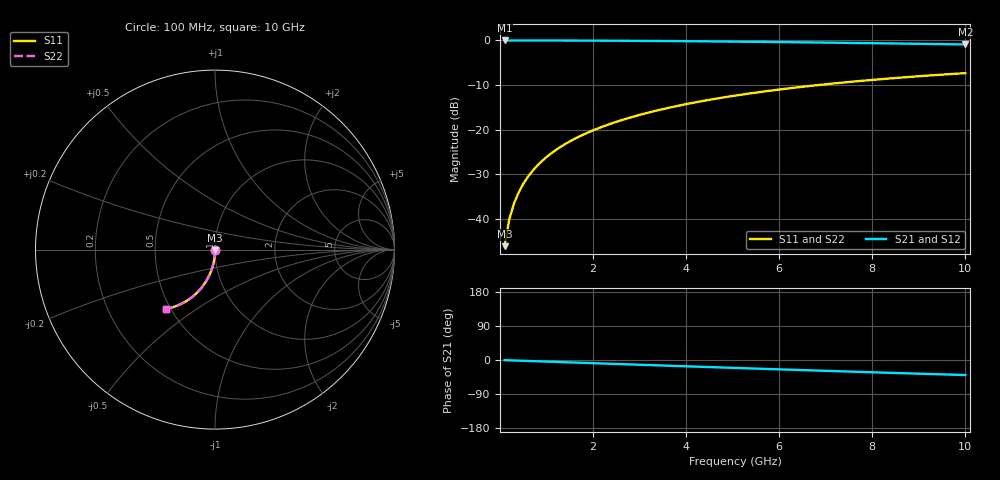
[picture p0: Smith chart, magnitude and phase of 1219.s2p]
# Hz S RI R 50.00
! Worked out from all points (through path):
!   100 points, 100 MHz to 10 GHz, reference 50 ohm
!   highest |S21| = 0.00 dB at 100 MHz (marker M1); lowest = -0.9 dB at 10 GHz (marker M2)
!   group delay of S21, straight-line fit = 11.1 ps
!   lowest |S11| = -46.1 dB at 100 MHz (marker M3), VSWR 1.01, Z = 50 - j0.493 ohm
!   |S11| at or under -10 dB: start of sweep to 6.843 GHz
!   |S22| runs from -46.1 to -7.3 dB; largest |S21 - S12| = 0
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1e8  0.000267 -0.00493  0.9996 -0.0073  0.9996 -0.0073  0.000267 -0.00493
2e8  0.000155 -0.00985  0.9995 -0.0146  0.9995 -0.0146  0.000155 -0.00985
3e8  -2.91e-05 -0.0148  0.9993 -0.0219  0.9993 -0.0219  -2.91e-05 -0.0148
4e8  -0.000286 -0.0197  0.999 -0.0292  0.999 -0.0292  -0.000286 -0.0197
5e8  -0.000614 -0.0246  0.9987 -0.0365  0.9987 -0.0365  -0.000614 -0.0246
6e8  -0.00101 -0.0295  0.9983 -0.0438  0.9983 -0.0438  -0.00101 -0.0295
7e8  -0.00149 -0.0344  0.9977 -0.0511  0.9977 -0.0511  -0.00149 -0.0344
8e8  -0.00203 -0.0393  0.9972 -0.0584  0.9972 -0.0584  -0.00203 -0.0393
9e8  -0.00265 -0.0442  0.9965 -0.0656  0.9965 -0.0656  -0.00265 -0.0442
1.1e9  -0.00409 -0.054  0.9949 -0.0801  0.9949 -0.0801  -0.00409 -0.054
1.4e9  -0.00679 -0.0685  0.992 -0.1018  0.992 -0.1018  -0.00679 -0.0685
1.8e9  -0.0114 -0.0876  0.9871 -0.1305  0.9871 -0.1305  -0.0114 -0.0876
2.1e9  -0.0155 -0.1018  0.9826 -0.1518  0.9826 -0.1518  -0.0155 -0.1018
2.5e9  -0.022 -0.1203  0.9756 -0.1799  0.9756 -0.1799  -0.022 -0.1203
2.9e9  -0.0295 -0.1383  0.9674 -0.2075  0.9674 -0.2075  -0.0295 -0.1383
3.4e9  -0.0403 -0.1601  0.9557 -0.2414  0.9557 -0.2414  -0.0403 -0.1601
4.2e9  -0.0606 -0.193  0.9337 -0.2936  0.9337 -0.2936  -0.0606 -0.193
5.1e9  -0.0873 -0.2265  0.9045 -0.3489  0.9045 -0.3489  -0.0873 -0.2265
5.9e9  -0.114 -0.2528  0.8751 -0.3948  0.8751 -0.3948  -0.114 -0.2528
6.7e9  -0.143 -0.2756  0.8431 -0.4374  0.8431 -0.4374  -0.143 -0.2756
8.4e9  -0.2094 -0.3118  0.7687 -0.5161  0.7687 -0.5161  -0.2094 -0.3118
1e10  -0.2746 -0.3308  0.6941 -0.5758  0.6941 -0.5758  -0.2746 -0.3308
